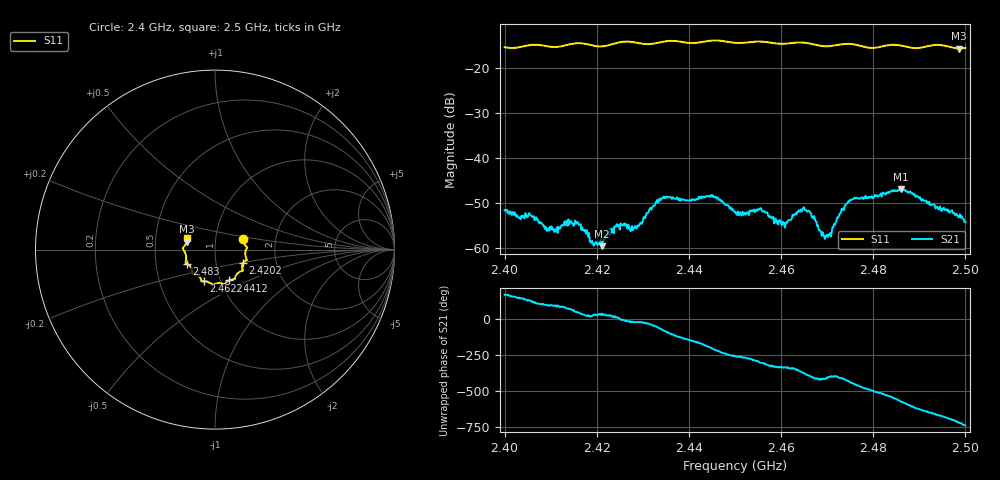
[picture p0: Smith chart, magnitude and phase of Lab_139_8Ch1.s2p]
# Hz S RI R 50
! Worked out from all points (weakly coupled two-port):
!   601 points, 2.4 GHz to 2.5 GHz, reference 50 ohm
!   highest |S21| = -46.83 dB at 2.486 GHz (marker M1); lowest = -59.5 dB at 2.4212 GHz (marker M2)
!   lowest |S11| = -15.7 dB at 2.4987 GHz (marker M3), VSWR 1.39, Z = 36.3 + j3.31 ohm
!   |S11| at or under -10 dB: start of sweep to end of sweep
!   S12 and S22 are empty: the file has one direction only
!   S11 on the Smith chart (normalised r, x): 2.4 GHz: 1.36, +0.17; 2.4202 GHz: 1.35, -0.20; 2.4412 GHz: 1.09, -0.39; 2.4622 GHz: 0.83, -0.30; 2.483 GHz: 0.72, -0.12; 2.5 GHz: 0.73, +0.09
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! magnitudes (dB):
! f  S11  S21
! 2.4 GHz  -15.5  -51.6
! 2.4058 GHz  -15.0  -52.9
! 2.4092 GHz  -15.2  -56.2
! 2.4167 GHz  -14.6  -55.9
! 2.4202 GHz  -15.3  -59.2
! 2.4212 GHz  -15.3  -59.5
! 2.4243 GHz  -14.5  -54.6
! 2.4292 GHz  -14.6  -55.0
! 2.4333 GHz  -14.5  -49.9
! 2.4412 GHz  -14.5  -49.2
! 2.4453 GHz  -14.0  -48.7
! 2.45 GHz  -14.5  -52.0
! 2.4622 GHz  -14.6  -53.7
! 2.4648 GHz  -14.4  -51.0
! 2.4667 GHz  -14.7  -53.1
! 2.47 GHz  -15.3  -57.1
! 2.4748 GHz  -14.7  -49.6
! 2.483 GHz  -15.1  -47.8
! 2.4833 GHz  -15.0  -47.7
! 2.486 GHz  -15.1  -46.8
! 2.4987 GHz  -15.7  -53.0
! 2.5 GHz  -15.6  -54.2
